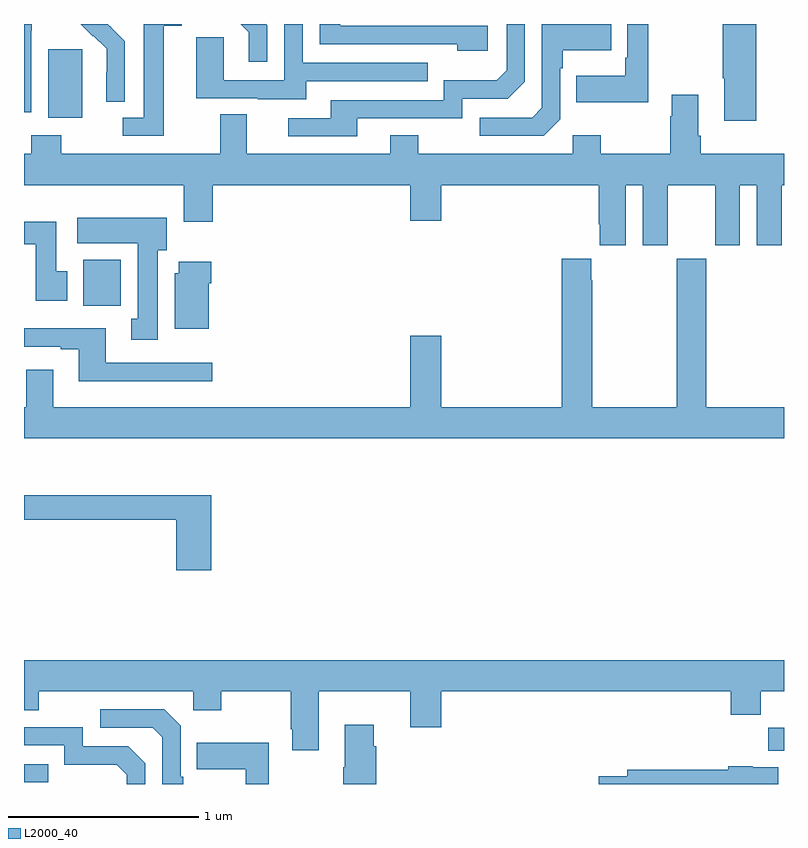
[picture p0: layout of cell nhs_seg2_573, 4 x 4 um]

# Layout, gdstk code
import gdstk
lib = gdstk.Library(unit=1e-6, precision=1e-09)
def R(c, l, rs):  # rectangles x0, y0, x1, y1
    for r in rs: c.add(gdstk.rectangle(r[:2], r[2:], *l))
def P(c, l, *ps):  # polygons
    for p in ps: c.add(gdstk.Polygon(p, *l))
L2000_40 = (2000, 40)

nhs_seg2_573 = lib.new_cell('nhs_seg2_573')
R(nhs_seg2_573, L2000_40, [(139,661.809,139.127,661.905), (142.918,661.976,143,662.095), (139.313,664.316,139.51,664.558), (139.127,665.306,139.306,665.667)])
P(nhs_seg2_573, L2000_40, [(141.442,665.79),(140.665,665.79),(140.665,665.8),(140.556,665.8),(140.556,665.694),(141.281,665.694),(141.281,665.66),(141.442,665.66)],
  [(139.735,665.792),(139.831,665.792),(139.831,665.8),(139.631,665.8),(139.631,665.307),(139.521,665.307),(139.521,665.211),(139.735,665.211)],
  [(139.038,665.764),(139.041,665.764),(139.041,665.8),(139,665.8),(139,665.335),(139.038,665.335)],
  [(139.53,665.71),(139.457,665.783),(139.458,665.784),(139.442,665.8),(139.298,665.8),(139.362,665.736),(139.365,665.739),(139.436,665.669),(139.436,665.546),(139.434,665.546),(139.434,665.392),(139.53,665.392)],
  [(142.853,665.8),(142.678,665.8),(142.678,665.515),(142.685,665.515),(142.685,665.292),(142.853,665.292)],
  [(140.485,665.499),(141.125,665.499),(141.125,665.595),(140.466,665.595),(140.466,665.8),(140.37,665.8),(140.37,665.505),(140.052,665.505),(140.052,665.729),(139.907,665.729),(139.907,665.409),(140.231,665.409),(140.231,665.405),(140.485,665.405)],
  [(140.28,665.794),(140.274,665.8),(140.14,665.8),(140.183,665.757),(140.183,665.601),(140.28,665.601)],
  [(141.822,665.298),(141.822,665.567),(141.835,665.567),(141.835,665.663),(142.091,665.663),(142.091,665.8),(141.726,665.8),(141.726,665.358),(141.675,665.307),(141.399,665.307),(141.399,665.211),(141.735,665.211)],
  [(140.755,665.304),(141.306,665.304),(141.306,665.406),(141.546,665.406),(141.636,665.496),(141.636,665.8),(141.54,665.8),(141.54,665.556),(141.487,665.503),(141.21,665.503),(141.21,665.4),(140.615,665.4),(140.615,665.304),(140.391,665.304),(140.391,665.208),(140.755,665.208)],
  [(142.285,665.8),(142.176,665.8),(142.176,665.623),(142.164,665.623),(142.164,665.527),(141.907,665.527),(141.907,665.387),(142.285,665.387)],
  [(142.168,664.952),(142.256,664.952),(142.256,664.635),(142.387,664.635),(142.387,664.952),(142.637,664.952),(142.637,664.635),(142.768,664.635),(142.768,664.952),(142.856,664.952),(142.856,664.635),(142.987,664.635),(142.987,664.952),(143,664.952),(143,665.116),(142.562,665.116),(142.562,665.212),(142.549,665.212),(142.549,665.428),(142.409,665.428),(142.409,665.315),(142.402,665.315),(142.402,665.116),(142.035,665.116),(142.035,665.215),(141.888,665.215),(141.888,665.116),(141.075,665.116),(141.075,665.215),(140.927,665.215),(140.927,665.116),(140.173,665.116),(140.173,665.324),(140.033,665.324),(140.033,665.116),(139.197,665.116),(139.197,665.215),(139.037,665.215),(139.037,665.116),(139,665.116),(139,664.952),(139.841,664.952),(139.841,664.758),(139.994,664.758),(139.994,664.952),(141.032,664.952),(141.032,664.764),(141.196,664.764),(141.196,664.952),(142.025,664.952),(142.025,664.747),(142.031,664.747),(142.031,664.635),(142.168,664.635)],
  [(139.705,664.61),(139.75,664.61),(139.75,664.78),(139.281,664.78),(139.281,664.646),(139.598,664.646),(139.598,664.25),(139.565,664.25),(139.565,664.137),(139.705,664.137)],
  [(139.228,664.5),(139.171,664.5),(139.171,664.759),(139,664.759),(139,664.64),(139.061,664.64),(139.061,664.344),(139.228,664.344)],
  [(143,663.784),(142.59,663.784),(142.59,664.564),(142.435,664.564),(142.435,663.784),(141.99,663.784),(141.99,664.451),(141.985,664.451),(141.985,664.564),(141.83,664.564),(141.83,663.784),(141.196,663.784),(141.196,664.159),(141.032,664.159),(141.032,663.784),(139.153,663.784),(139.153,663.979),(139.013,663.979),(139.013,663.784),(139,663.784),(139,663.62),(143,663.62)],
  [(139.972,664.436),(139.985,664.436),(139.985,664.549),(139.814,664.549),(139.814,664.488),(139.793,664.488),(139.793,664.196),(139.972,664.196)],
  [(139.99,664.017),(139.429,664.017),(139.429,664.198),(139,664.198),(139,664.101),(139.193,664.101),(139.193,664.089),(139.289,664.089),(139.289,663.92),(139.99,663.92)],
  [(139.985,663.319),(139,663.319),(139,663.19),(139.802,663.19),(139.802,662.925),(139.985,662.925)],
  [(140.551,662.288),(141.032,662.288),(141.032,662.1),(141.196,662.1),(141.196,662.288),(142.721,662.288),(142.721,662.164),(142.877,662.164),(142.877,662.288),(143,662.288),(143,662.452),(139,662.452),(139,662.189),(139.077,662.189),(139.077,662.288),(139.89,662.288),(139.89,662.189),(140.037,662.189),(140.037,662.288),(140.404,662.288),(140.404,662.089),(140.411,662.089),(140.411,661.977),(140.551,661.977)],
  [(139.837,661.837),(139.824,661.837),(139.824,662.106),(139.737,662.193),(139.401,662.193),(139.401,662.097),(139.677,662.097),(139.728,662.046),(139.728,661.8),(139.837,661.8)],
  [(140.855,662),(140.842,662),(140.842,662.113),(140.687,662.113),(140.687,661.889),(140.68,661.889),(140.68,661.8),(140.855,661.8)],
  [(139.638,661.908),(139.548,661.998),(139.308,661.998),(139.308,662.1),(139,662.1),(139,662.004),(139.212,662.004),(139.212,661.901),(139.489,661.901),(139.542,661.848),(139.542,661.8),(139.638,661.8)],
  [(140.287,662.017),(139.909,662.017),(139.909,661.877),(140.166,661.877),(140.166,661.8),(140.287,661.8)],
  [(142.969,661.888),(142.836,661.888),(142.836,661.894),(142.706,661.894),(142.706,661.876),(142.175,661.876),(142.175,661.842),(142.026,661.842),(142.026,661.8),(142.969,661.8)])

lib.write_gds('nhs_seg2_573.gds')
